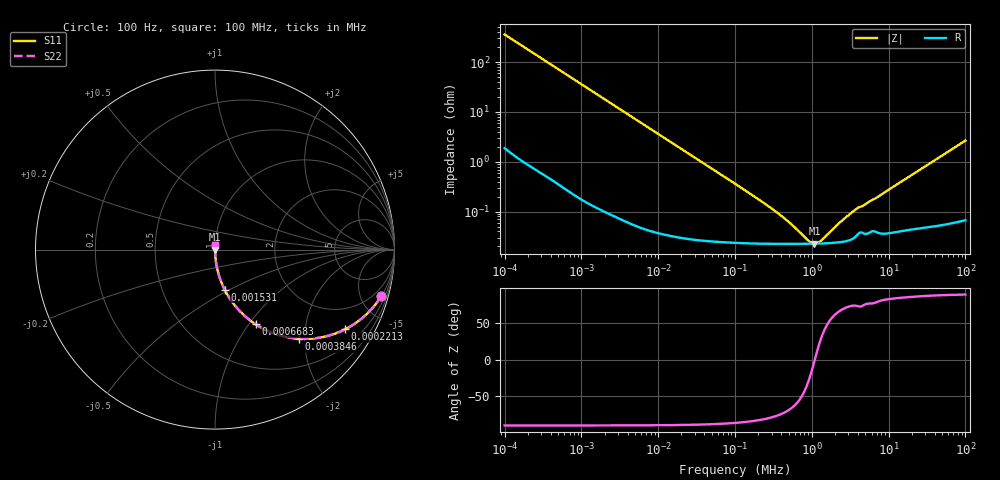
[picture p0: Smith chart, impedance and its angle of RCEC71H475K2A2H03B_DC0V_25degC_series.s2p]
!Murata Part Number: RCEC71H475K2A2H03B
!These Parameters are Measured in Series Mode Connection
!  o--ll--o
!Port1  Port2
!  o------o
!Operation Temp=25[degC], DC Bias Voltage=0[V]
!Freq. Start=100[Hz] Stop=100[MHz], 401[Steps]
!Data Generated on Feb 18, 2020
# Hz S RI R 50
!Freq.(Hz) S11(Real) S11(Imag) S21(Real) S21(Imag) S12(Real) S12(Imag) S22(Real) S22(Imag)
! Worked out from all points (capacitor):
!   401 points, 100 Hz to 100 MHz, reference 50 ohm
!   read as one part in series: C = 4.43 uF near 107.2 Hz
!   lowest |Z| = 22.7 mohm at 1.084 MHz (marker M1)
!   series resonance near 1.095 MHz, so ESL is about 4.8 nH
!   S11 on the Smith chart (normalised r, x): 100 Hz: 1.04, -7.18; 221.3 Hz: 1.02, -3.25; 384.6 Hz: 1.01, -1.87; 668.3 Hz: 1.01, -1.08; 1.531 kHz: 1.00, -0.47; 100 MHz: 1.00, +0.05
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100  0.9268 -0.2578  0.0732 0.2578  0.0732 0.2578  0.9268 -0.2578
151.3561  0.8481 -0.3565  0.1519 0.3565  0.1519 0.3565  0.8481 -0.3565
221.3095  0.7245 -0.4444  0.2755 0.4444  0.2755 0.4444  0.7245 -0.4444
291.7427  0.6031 -0.4868  0.3969 0.4868  0.3969 0.4868  0.6031 -0.4868
384.5918  0.4676 -0.4965  0.5324 0.4965  0.5324 0.4965  0.4676 -0.4965
668.3439  0.2269 -0.4164  0.7731 0.4164  0.7731 0.4164  0.2269 -0.4164
1011.579  0.1143 -0.3158  0.8857 0.3158  0.8857 0.3158  0.1143 -0.3158
1531.087  0.0539 -0.2232  0.9461 0.2232  0.9461 0.2232  0.0539 -0.2232
3507.519  0.0112 -0.1021  0.9888 0.1021  0.9888 0.1021  0.0112 -0.1021
10232.93  0.00162 -0.0354  0.9984 0.0354  0.9984 0.0354  0.00162 -0.0354
100000  0.000249 -0.00363  0.9998 0.00363  0.9998 0.00363  0.000249 -0.00363
371535.2  0.000226 -0.000873  0.9998 0.000873  0.9998 0.000873  0.000226 -0.000873
543250.3  0.000225 -0.000509  0.9998 0.000509  0.9998 0.000509  0.000225 -0.000509
881048.9  0.000226 -0.000147  0.9998 0.000147  0.9998 0.000147  0.000226 -0.000147
1011579  0.000227 -5.33e-05  0.9998 5.33e-05  0.9998 5.33e-05  0.000227 -5.33e-05
1083927  0.000227 -6.95e-06  0.9998 6.95e-06  0.9998 6.95e-06  0.000227 -6.95e-06
1202264  0.000228 6.26e-05  0.9998 -6.26e-05  0.9998 -6.26e-05  0.000228 6.26e-05
1333521  0.000229 0.000133  0.9998 -0.000133  0.9998 -0.000133  0.000229 0.000133
2238721  0.000242 0.000523  0.9998 -0.000523  0.9998 -0.000523  0.000242 0.000523
3758374  0.00032 0.00107  0.9997 -0.00107  0.9997 -0.00107  0.00032 0.00107
1.023293e7  0.000376 0.00278  0.9996 -0.00278  0.9996 -0.00278  0.000376 0.00278
1e8  0.00138 0.0266  0.9986 -0.0266  0.9986 -0.0266  0.00138 0.0266
